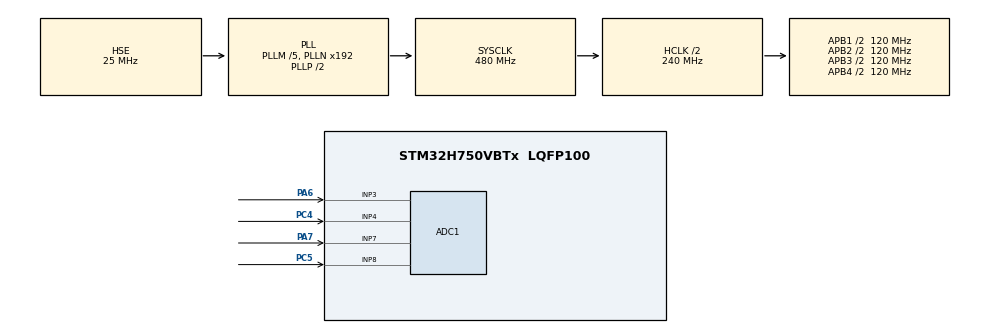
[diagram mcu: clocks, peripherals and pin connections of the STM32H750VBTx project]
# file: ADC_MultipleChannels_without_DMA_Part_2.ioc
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ADC1.Channel-0\#ChannelRegularConversion=ADC_CHANNEL_3
ADC1.Channel-1\#ChannelRegularConversion=ADC_CHANNEL_4
ADC1.Channel-2\#ChannelRegularConversion=ADC_CHANNEL_7
ADC1.Channel-3\#ChannelRegularConversion=ADC_CHANNEL_8
ADC1.DiscontinuousConvMode=DISABLE
ADC1.NbrOfConversion=4
ADC1.NbrOfConversionFlag=1
ADC1.OffsetNumber-0\#ChannelRegularConversion=ADC_OFFSET_NONE
ADC1.OffsetNumber-1\#ChannelRegularConversion=ADC_OFFSET_NONE
ADC1.OffsetNumber-2\#ChannelRegularConversion=ADC_OFFSET_NONE
ADC1.OffsetNumber-3\#ChannelRegularConversion=ADC_OFFSET_NONE
ADC1.OffsetSignedSaturation-0\#ChannelRegularConversion=DISABLE
ADC1.OffsetSignedSaturation-1\#ChannelRegularConversion=DISABLE
ADC1.OffsetSignedSaturation-2\#ChannelRegularConversion=DISABLE
ADC1.OffsetSignedSaturation-3\#ChannelRegularConversion=DISABLE
ADC1.Rank-0\#ChannelRegularConversion=1
ADC1.Rank-1\#ChannelRegularConversion=2
ADC1.Rank-2\#ChannelRegularConversion=3
ADC1.Rank-3\#ChannelRegularConversion=4
ADC1.SamplingTime-0\#ChannelRegularConversion=ADC_SAMPLETIME_810CYCLES_5
ADC1.SamplingTime-1\#ChannelRegularConversion=ADC_SAMPLETIME_387CYCLES_5
ADC1.SamplingTime-2\#ChannelRegularConversion=ADC_SAMPLETIME_64CYCLES_5
ADC1.SamplingTime-3\#ChannelRegularConversion=ADC_SAMPLETIME_16CYCLES_5
ADC1.master=1
CORTEX_M7.default_mode_Activation=1
Mcu.Family=STM32H7
Mcu.Name=STM32H750VBTx
Mcu.Package=LQFP100
NVIC.PriorityGroup=NVIC_PRIORITYGROUP_4
PA6.Signal=ADCx_INP3
PA7.Signal=ADCx_INP7
PC4.Signal=ADCx_INP4
PC5.Signal=ADCx_INP8
PH0-OSC_IN\ (PH0).Mode=HSE-External-Oscillator
PH0-OSC_IN\ (PH0).Signal=RCC_OSC_IN
PH1-OSC_OUT\ (PH1).Mode=HSE-External-Oscillator
PH1-OSC_OUT\ (PH1).Signal=RCC_OSC_OUT
ProjectManager.HeapSize=0x200
ProjectManager.StackSize=0x400
ProjectManager.TargetToolchain=STM32CubeIDE
RCC.ADCFreq_Value=15000000
RCC.APB1Freq_Value=120000000
RCC.APB2Freq_Value=120000000
RCC.APB3Freq_Value=120000000
RCC.APB4Freq_Value=120000000
RCC.CortexFreq_Value=480000000
RCC.D1PPRE=RCC_APB3_DIV2
RCC.D2PPRE1=RCC_APB1_DIV2
RCC.D2PPRE2=RCC_APB2_DIV2
RCC.D3PPRE=RCC_APB4_DIV2
RCC.DIVM1=5
RCC.DIVM2=2
RCC.DIVN1=192
RCC.DIVN2=12
RCC.DIVP2=10
RCC.HCLKFreq_Value=240000000
RCC.HPRE=RCC_HCLK_DIV2
RCC.PLL2FRACN=0
RCC.PLLFRACN=0
RCC.PLLSourceVirtual=RCC_PLLSOURCE_HSE
RCC.SYSCLKFreq_VALUE=480000000
RCC.SYSCLKSource=RCC_SYSCLKSOURCE_PLLCLK
RCC.USBFreq_Value=480000000
SH.ADCx_INP3.0=ADC1_INP3,IN3-Single-Ended
SH.ADCx_INP4.0=ADC1_INP4,IN4-Single-Ended
SH.ADCx_INP7.0=ADC1_INP7,IN7-Single-Ended
SH.ADCx_INP8.0=ADC1_INP8,IN8-Single-Ended
VP_MEMORYMAP_VS_MEMORYMAP.Mode=CurAppReg
board=custom

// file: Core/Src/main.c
/* USER CODE BEGIN Header */
/**
  ******************************************************************************
  * @file           : main.c
  * @brief          : Main program body
  ******************************************************************************
  * @attention
  *
  * Copyright (c) 2025 STMicroelectronics.
  * All rights reserved.
  *
  * This software is licensed under terms that can be found in the LICENSE file
  * in the root directory of this software component.
  * If no LICENSE file comes with this software, it is provided AS-IS.
  *
  ******************************************************************************
  */
/* USER CODE END Header */
#include "main.h"

/* USER CODE BEGIN Includes */

//In this project the ADC channels are read separately

/* USER CODE END Includes */

/* USER CODE BEGIN PD */
#define QUANTITY_OF_CHANNELS 4
/* USER CODE END PD */

ADC_HandleTypeDef hadc1;

void SystemClock_Config(void);
static void MPU_Config(void);
static void MX_GPIO_Init(void);
static void MX_ADC1_Init(void);

/* USER CODE BEGIN 0 */
uint16_t ADC_VAL[QUANTITY_OF_CHANNELS]; //Array to store data from the ADC channels

uint16_t ADC_Convert_Rank_1 (void) //This functions only works for rank 1 (in this case channel 3)
{
	ADC_ChannelConfTypeDef sConfig = {0};

	sConfig.Channel = ADC_CHANNEL_3;
	sConfig.Rank = ADC_REGULAR_RANK_1;
	sConfig.SamplingTime = ADC_SAMPLETIME_810CYCLES_5;
	sConfig.SingleDiff = ADC_SINGLE_ENDED;
	sConfig.OffsetNumber = ADC_OFFSET_NONE;
	sConfig.Offset = 0;
	sConfig.OffsetSignedSaturation = DISABLE;
	if (HAL_ADC_ConfigChannel(&hadc1, &sConfig) != HAL_OK)
	{
	  Error_Handler();
	}

	HAL_ADC_Start(&hadc1);
	HAL_ADC_PollForConversion(&hadc1, 100);
	uint16_t adc_val = HAL_ADC_GetValue(&hadc1);
	HAL_ADC_Stop(&hadc1);

	return adc_val;
}
//-------------------------------------------------------------------
uint16_t ADC_Convert_Rank_2 (void)
{
	ADC_ChannelConfTypeDef sConfig = {0};

	sConfig.Channel = ADC_CHANNEL_4;
	sConfig.Rank = ADC_REGULAR_RANK_2;
	sConfig.SamplingTime = ADC_SAMPLETIME_387CYCLES_5;
	if (HAL_ADC_ConfigChannel(&hadc1, &sConfig) != HAL_OK)
	{
	  Error_Handler();
	}
}
//------------------------------------------------------------------
uint16_t ADC_Convert_Rank_3 (void)
{
	ADC_ChannelConfTypeDef sConfig = {0};

	sConfig.Channel = ADC_CHANNEL_7;
	sConfig.Rank = ADC_REGULAR_RANK_3;
	sConfig.SamplingTime = ADC_SAMPLETIME_64CYCLES_5;
	if (HAL_ADC_ConfigChannel(&hadc1, &sConfig) != HAL_OK)
	{
	  Error_Handler();
	}
}
//-------------------------------------------------------------------
uint16_t ADC_Convert_Rank_4 (void)
{
	ADC_ChannelConfTypeDef sConfig = {0};

	sConfig.Channel = ADC_CHANNEL_8;
	sConfig.Rank = ADC_REGULAR_RANK_4;
	sConfig.SamplingTime = ADC_SAMPLETIME_16CYCLES_5;
	if (HAL_ADC_ConfigChannel(&hadc1, &sConfig) != HAL_OK)
	{
	  Error_Handler();
	}
}
//====================================================================
/* USER CODE END 0 */

int main(void)
{

  /* MPU Configuration--------------------------------------------------------*/
  MPU_Config();

  /* MCU Configuration--------------------------------------------------------*/

  /* Reset of all peripherals, Initializes the Flash interface and the Systick. */
  HAL_Init();

  /* Configure the system clock */
  SystemClock_Config();

  /* Initialize all configured peripherals */
  MX_GPIO_Init();
  MX_ADC1_Init();

  /* Infinite loop */
  /* USER CODE BEGIN WHILE */
  while (1)
  {
    //Channels are read separately so you can read each one without the rest
	ADC_VAL[0] = ADC_Convert_Rank_1();
    ADC_VAL[1] = ADC_Convert_Rank_2();
    ADC_VAL[2] = ADC_Convert_Rank_3();
    ADC_VAL[3] = ADC_Convert_Rank_4();

	  /* USER CODE END WHILE */

    /* USER CODE BEGIN 3 */
	  HAL_Delay(250);
  }
  /* USER CODE END 3 */
}

void SystemClock_Config(void)
{
  RCC_OscInitTypeDef RCC_OscInitStruct = {0};
  RCC_ClkInitTypeDef RCC_ClkInitStruct = {0};

  /** Supply configuration update enable
  */
  HAL_PWREx_ConfigSupply(PWR_LDO_SUPPLY);

  /** Configure the main internal regulator output voltage
  */
  __HAL_PWR_VOLTAGESCALING_CONFIG(PWR_REGULATOR_VOLTAGE_SCALE0);

  while(!__HAL_PWR_GET_FLAG(PWR_FLAG_VOSRDY)) {}

  /** Initializes the RCC Oscillators according to the specified parameters
  * in the RCC_OscInitTypeDef structure.
  */
  RCC_OscInitStruct.OscillatorType = RCC_OSCILLATORTYPE_HSE;
  RCC_OscInitStruct.HSEState = RCC_HSE_ON;
  RCC_OscInitStruct.PLL.PLLState = RCC_PLL_ON;
  RCC_OscInitStruct.PLL.PLLSource = RCC_PLLSOURCE_HSE;
  RCC_OscInitStruct.PLL.PLLM = 5;
  RCC_OscInitStruct.PLL.PLLN = 192;
  RCC_OscInitStruct.PLL.PLLP = 2;
  RCC_OscInitStruct.PLL.PLLQ = 2;
  RCC_OscInitStruct.PLL.PLLR = 2;
  RCC_OscInitStruct.PLL.PLLRGE = RCC_PLL1VCIRANGE_2;
  RCC_OscInitStruct.PLL.PLLVCOSEL = RCC_PLL1VCOWIDE;
  RCC_OscInitStruct.PLL.PLLFRACN = 0;
  if (HAL_RCC_OscConfig(&RCC_OscInitStruct) != HAL_OK)
  {
    Error_Handler();
  }

  /** Initializes the CPU, AHB and APB buses clocks
  */
  RCC_ClkInitStruct.ClockType = RCC_CLOCKTYPE_HCLK|RCC_CLOCKTYPE_SYSCLK
                              |RCC_CLOCKTYPE_PCLK1|RCC_CLOCKTYPE_PCLK2
                              |RCC_CLOCKTYPE_D3PCLK1|RCC_CLOCKTYPE_D1PCLK1;
  RCC_ClkInitStruct.SYSCLKSource = RCC_SYSCLKSOURCE_PLLCLK;
  RCC_ClkInitStruct.SYSCLKDivider = RCC_SYSCLK_DIV1;
  RCC_ClkInitStruct.AHBCLKDivider = RCC_HCLK_DIV2;
  RCC_ClkInitStruct.APB3CLKDivider = RCC_APB3_DIV2;
  RCC_ClkInitStruct.APB1CLKDivider = RCC_APB1_DIV2;
  RCC_ClkInitStruct.APB2CLKDivider = RCC_APB2_DIV2;
  RCC_ClkInitStruct.APB4CLKDivider = RCC_APB4_DIV2;

  if (HAL_RCC_ClockConfig(&RCC_ClkInitStruct, FLASH_LATENCY_4) != HAL_OK)
  {
    Error_Handler();
  }
}

static void MX_ADC1_Init(void)
{

  ADC_MultiModeTypeDef multimode = {0};
  ADC_ChannelConfTypeDef sConfig = {0};

  /** Common config
  */
  hadc1.Instance = ADC1;
  hadc1.Init.ClockPrescaler = ADC_CLOCK_ASYNC_DIV1;
  hadc1.Init.Resolution = ADC_RESOLUTION_16B;
  hadc1.Init.ScanConvMode = ADC_SCAN_ENABLE;
  hadc1.Init.EOCSelection = ADC_EOC_SINGLE_CONV;
  hadc1.Init.LowPowerAutoWait = DISABLE;
  hadc1.Init.ContinuousConvMode = DISABLE;
  hadc1.Init.NbrOfConversion = 4;
  hadc1.Init.DiscontinuousConvMode = DISABLE;
  hadc1.Init.ExternalTrigConv = ADC_SOFTWARE_START;
  hadc1.Init.ExternalTrigConvEdge = ADC_EXTERNALTRIGCONVEDGE_NONE;
  hadc1.Init.ConversionDataManagement = ADC_CONVERSIONDATA_DR;
  hadc1.Init.Overrun = ADC_OVR_DATA_PRESERVED;
  hadc1.Init.LeftBitShift = ADC_LEFTBITSHIFT_NONE;
  hadc1.Init.OversamplingMode = DISABLE;
  hadc1.Init.Oversampling.Ratio = 1;
  if (HAL_ADC_Init(&hadc1) != HAL_OK)
  {
    Error_Handler();
  }

  /** Configure the ADC multi-mode
  */
  multimode.Mode = ADC_MODE_INDEPENDENT;
  if (HAL_ADCEx_MultiModeConfigChannel(&hadc1, &multimode) != HAL_OK)
  {
    Error_Handler();
  }

  /** Configure Regular Channel
  */
  /*
  sConfig.Channel = ADC_CHANNEL_3;
  sConfig.Rank = ADC_REGULAR_RANK_1;
  sConfig.SamplingTime = ADC_SAMPLETIME_810CYCLES_5;
  sConfig.SingleDiff = ADC_SINGLE_ENDED;
  sConfig.OffsetNumber = ADC_OFFSET_NONE;
  sConfig.Offset = 0;
  sConfig.OffsetSignedSaturation = DISABLE;
  if (HAL_ADC_ConfigChannel(&hadc1, &sConfig) != HAL_OK)
  {
    Error_Handler();
  }
*/
  /** Configure Regular Channel
  */
  /*
  sConfig.Channel = ADC_CHANNEL_4;
  sConfig.Rank = ADC_REGULAR_RANK_2;
  sConfig.SamplingTime = ADC_SAMPLETIME_387CYCLES_5;
  if (HAL_ADC_ConfigChannel(&hadc1, &sConfig) != HAL_OK)
  {
    Error_Handler();
  }
*/
  /** Configure Regular Channel
  */
  /*
  sConfig.Channel = ADC_CHANNEL_7;
  sConfig.Rank = ADC_REGULAR_RANK_3;
  sConfig.SamplingTime = ADC_SAMPLETIME_64CYCLES_5;
  if (HAL_ADC_ConfigChannel(&hadc1, &sConfig) != HAL_OK)
  {
    Error_Handler();
  }
*/
  /** Configure Regular Channel
  */
  /*
  sConfig.Channel = ADC_CHANNEL_8;
  sConfig.Rank = ADC_REGULAR_RANK_4;
  sConfig.SamplingTime = ADC_SAMPLETIME_16CYCLES_5;
  if (HAL_ADC_ConfigChannel(&hadc1, &sConfig) != HAL_OK)
  {
    Error_Handler();
  }
  */

}

static void MX_GPIO_Init(void)
{

  /* GPIO Ports Clock Enable */
  __HAL_RCC_GPIOH_CLK_ENABLE();
  __HAL_RCC_GPIOA_CLK_ENABLE();
  __HAL_RCC_GPIOC_CLK_ENABLE();

}

 /* MPU Configuration */

void MPU_Config(void)
{
  MPU_Region_InitTypeDef MPU_InitStruct = {0};

  /* Disables the MPU */
  HAL_MPU_Disable();

  /** Initializes and configures the Region and the memory to be protected
  */
  MPU_InitStruct.Enable = MPU_REGION_ENABLE;
  MPU_InitStruct.Number = MPU_REGION_NUMBER0;
  MPU_InitStruct.BaseAddress = 0x0;
  MPU_InitStruct.Size = MPU_REGION_SIZE_4GB;
  MPU_InitStruct.SubRegionDisable = 0x87;
  MPU_InitStruct.TypeExtField = MPU_TEX_LEVEL0;
  MPU_InitStruct.AccessPermission = MPU_REGION_NO_ACCESS;
  MPU_InitStruct.DisableExec = MPU_INSTRUCTION_ACCESS_DISABLE;
  MPU_InitStruct.IsShareable = MPU_ACCESS_SHAREABLE;
  MPU_InitStruct.IsCacheable = MPU_ACCESS_NOT_CACHEABLE;
  MPU_InitStruct.IsBufferable = MPU_ACCESS_NOT_BUFFERABLE;

  HAL_MPU_ConfigRegion(&MPU_InitStruct);
  /* Enables the MPU */
  HAL_MPU_Enable(MPU_PRIVILEGED_DEFAULT);

}

void Error_Handler(void)
{
  __disable_irq();
  while (1)
  {
  }
}
